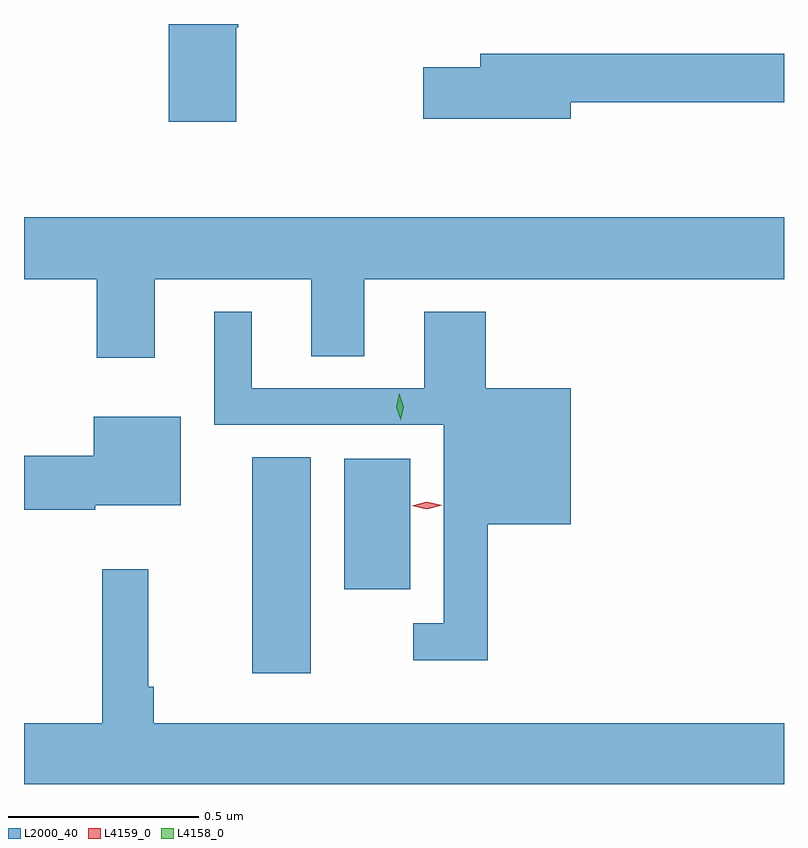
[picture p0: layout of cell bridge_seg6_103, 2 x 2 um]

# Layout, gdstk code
import gdstk
lib = gdstk.Library(unit=1e-6, precision=1e-09)
def R(c, l, rs):  # rectangles x0, y0, x1, y1
    for r in rs: c.add(gdstk.rectangle(r[:2], r[2:], *l))
def P(c, l, *ps):  # polygons
    for p in ps: c.add(gdstk.Polygon(p, *l))
L2000_40 = (2000, 40)
L4158_0 = (4158, 0)
L4159_0 = (4159, 0)

bridge_seg6_103 = lib.new_cell('bridge_seg6_103')
R(bridge_seg6_103, L2000_40, [(778.049,916.995,778.204,917.564), (778.292,917.216,778.465,917.56)])
P(bridge_seg6_103, L2000_40, [(778.008,918.695),(778.013,918.695),(778.013,918.704),(777.83,918.704),(777.83,918.447),(778.008,918.447)],
  [(778.888,918.498),(779.449,918.498),(779.449,918.626),(778.649,918.626),(778.649,918.59),(778.5,918.59),(778.5,918.455),(778.888,918.455)],
  [(777.793,918.032),(778.205,918.032),(778.205,917.83),(778.345,917.83),(778.345,918.032),(779.449,918.032),(779.449,918.196),(777.449,918.196),(777.449,918.032),(777.641,918.032),(777.641,917.826),(777.793,917.826)],
  [(778.67,917.387),(778.888,917.387),(778.888,917.746),(778.664,917.746),(778.664,917.947),(778.502,917.947),(778.502,917.745),(778.048,917.745),(778.048,917.947),(777.95,917.947),(777.95,917.649),(778.554,917.649),(778.554,917.127),(778.473,917.127),(778.473,917.03),(778.67,917.03)],
  [(777.636,917.438),(777.862,917.438),(777.862,917.671),(777.632,917.671),(777.632,917.568),(777.449,917.568),(777.449,917.426),(777.636,917.426)],
  [(779.449,916.864),(777.791,916.864),(777.791,916.96),(777.776,916.96),(777.776,917.269),(777.655,917.269),(777.655,916.864),(777.449,916.864),(777.449,916.704),(779.449,916.704)])
P(bridge_seg6_103, L4158_0, [(778.44,917.661),(778.44,917.662),(778.428,917.696),(778.437,917.732),(778.437,917.732),(778.437,917.732),(778.448,917.697),(778.44,917.662)])
P(bridge_seg6_103, L4159_0, [(778.509,917.427),(778.469,917.436),(778.469,917.436),(778.469,917.436),(778.509,917.447),(778.549,917.438),(778.55,917.438),(778.549,917.437)])

lib.write_gds('bridge_seg6_103.gds')
